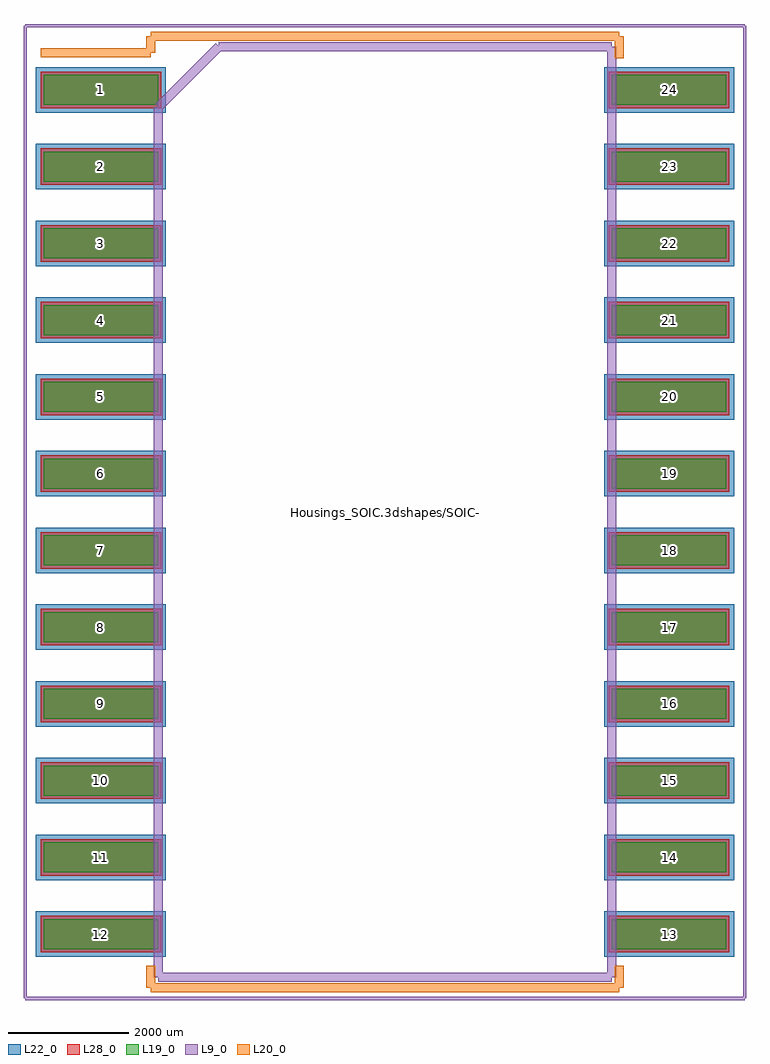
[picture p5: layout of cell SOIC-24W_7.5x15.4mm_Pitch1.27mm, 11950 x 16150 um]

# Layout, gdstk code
import gdstk
lib = gdstk.Library(unit=1e-6, precision=1e-09)
def R(c, l, rs):  # rectangles x0, y0, x1, y1
    for r in rs: c.add(gdstk.rectangle(r[:2], r[2:], *l))
def A(c, l, x, y, w, h, nx, ny, dx, dy):  # array of equal rectangles
    R(c, l, [(x+i*dx, y+j*dy, x+i*dx+w, y+j*dy+h) for i in range(nx) for j in range(ny)])
L9_0 = (9, 0)
L19_0 = (19, 0)
L20_0 = (20, 0)
L22_0 = (22, 0)
L28_0 = (28, 0)

soic_24w_7_5x15_4mm_pitc = lib.new_cell('SOIC-24W_7.5x15.4mm_Pitch1.27mm')
A(soic_24w_7_5x15_4mm_pitc, L19_0, -5650, -7235, 1900, 500, 1, 12, 0, 1270)
A(soic_24w_7_5x15_4mm_pitc, L19_0, 3750, -7235, 1900, 500, 1, 12, 0, 1270)
A(soic_24w_7_5x15_4mm_pitc, L22_0, -5775, -7360, 2150, 750, 1, 12, 0, 1270)
A(soic_24w_7_5x15_4mm_pitc, L22_0, 3625, -7360, 2150, 750, 1, 12, 0, 1270)
A(soic_24w_7_5x15_4mm_pitc, L28_0, -5700, -7285, 2000, 600, 1, 12, 0, 1270)
A(soic_24w_7_5x15_4mm_pitc, L28_0, 3700, -7285, 2000, 600, 1, 12, 0, 1270)
soic_24w_7_5x15_4mm_pitc.add(gdstk.FlexPath([(-3875,7600),(-5700,7600)], 149.998, ends="flush", simple_path=True, layer=20, datatype=0))  # L20_0
soic_24w_7_5x15_4mm_pitc.add(gdstk.FlexPath([(-3875,-7875),(3875,-7875)], 149.998, ends="flush", simple_path=True, layer=20, datatype=0))  # L20_0
soic_24w_7_5x15_4mm_pitc.add(gdstk.FlexPath([(-3875,7875),(3875,7875)], 149.998, ends="flush", simple_path=True, layer=20, datatype=0))  # L20_0
soic_24w_7_5x15_4mm_pitc.add(gdstk.FlexPath([(-3875,-7875),(-3875,-7510)], 149.998, ends="flush", simple_path=True, layer=20, datatype=0))  # L20_0
soic_24w_7_5x15_4mm_pitc.add(gdstk.FlexPath([(3875,-7875),(3875,-7510)], 149.998, ends="flush", simple_path=True, layer=20, datatype=0))  # L20_0
soic_24w_7_5x15_4mm_pitc.add(gdstk.FlexPath([(3875,7875),(3875,7510)], 149.998, ends="flush", simple_path=True, layer=20, datatype=0))  # L20_0
soic_24w_7_5x15_4mm_pitc.add(gdstk.FlexPath([(-3875,7875),(-3875,7600)], 149.998, ends="flush", simple_path=True, layer=20, datatype=0))  # L20_0
soic_24w_7_5x15_4mm_pitc.add(gdstk.FlexPath([(-5950,-8050),(5950,-8050)], 50, ends="flush", simple_path=True, layer=9, datatype=0))  # L9_0
soic_24w_7_5x15_4mm_pitc.add(gdstk.FlexPath([(-5950,8050),(5950,8050)], 50, ends="flush", simple_path=True, layer=9, datatype=0))  # L9_0
soic_24w_7_5x15_4mm_pitc.add(gdstk.FlexPath([(5950,8050),(5950,-8050)], 50, ends="flush", simple_path=True, layer=9, datatype=0))  # L9_0
soic_24w_7_5x15_4mm_pitc.add(gdstk.FlexPath([(-5950,8050),(-5950,-8050)], 50, ends="flush", simple_path=True, layer=9, datatype=0))  # L9_0
soic_24w_7_5x15_4mm_pitc.add(gdstk.FlexPath([(-3750,6700),(-2750,7700)], 149.998, ends="flush", simple_path=True, layer=9, datatype=0))  # L9_0
soic_24w_7_5x15_4mm_pitc.add(gdstk.FlexPath([(-3750,-7700),(-3750,6700)], 149.998, ends="flush", simple_path=True, layer=9, datatype=0))  # L9_0
soic_24w_7_5x15_4mm_pitc.add(gdstk.FlexPath([(3750,-7700),(-3750,-7700)], 149.998, ends="flush", simple_path=True, layer=9, datatype=0))  # L9_0
soic_24w_7_5x15_4mm_pitc.add(gdstk.FlexPath([(3750,7700),(3750,-7700)], 149.998, ends="flush", simple_path=True, layer=9, datatype=0))  # L9_0
soic_24w_7_5x15_4mm_pitc.add(gdstk.FlexPath([(-2750,7700),(3750,7700)], 149.998, ends="flush", simple_path=True, layer=9, datatype=0))  # L9_0
soic_24w_7_5x15_4mm_pitc.add(gdstk.Label('Housings_SOIC.3dshapes/SOIC-24_7.5x15.4mm_Pitch1.27mm.wrl', (0,0), layer=12, texttype=0))
soic_24w_7_5x15_4mm_pitc.add(gdstk.Label('24', (4700,6985), layer=28, texttype=0))
soic_24w_7_5x15_4mm_pitc.add(gdstk.Label('23', (4700,5715), layer=28, texttype=0))
soic_24w_7_5x15_4mm_pitc.add(gdstk.Label('22', (4700,4445), layer=28, texttype=0))
soic_24w_7_5x15_4mm_pitc.add(gdstk.Label('21', (4700,3175), layer=28, texttype=0))
soic_24w_7_5x15_4mm_pitc.add(gdstk.Label('20', (4700,1905), layer=28, texttype=0))
soic_24w_7_5x15_4mm_pitc.add(gdstk.Label('19', (4700,635), layer=28, texttype=0))
soic_24w_7_5x15_4mm_pitc.add(gdstk.Label('18', (4700,-635), layer=28, texttype=0))
soic_24w_7_5x15_4mm_pitc.add(gdstk.Label('17', (4700,-1905), layer=28, texttype=0))
soic_24w_7_5x15_4mm_pitc.add(gdstk.Label('16', (4700,-3175), layer=28, texttype=0))
soic_24w_7_5x15_4mm_pitc.add(gdstk.Label('15', (4700,-4445), layer=28, texttype=0))
soic_24w_7_5x15_4mm_pitc.add(gdstk.Label('14', (4700,-5715), layer=28, texttype=0))
soic_24w_7_5x15_4mm_pitc.add(gdstk.Label('13', (4700,-6985), layer=28, texttype=0))
soic_24w_7_5x15_4mm_pitc.add(gdstk.Label('12', (-4700,-6985), layer=28, texttype=0))
soic_24w_7_5x15_4mm_pitc.add(gdstk.Label('11', (-4700,-5715), layer=28, texttype=0))
soic_24w_7_5x15_4mm_pitc.add(gdstk.Label('10', (-4700,-4445), layer=28, texttype=0))
soic_24w_7_5x15_4mm_pitc.add(gdstk.Label('9', (-4700,-3175), layer=28, texttype=0))
soic_24w_7_5x15_4mm_pitc.add(gdstk.Label('8', (-4700,-1905), layer=28, texttype=0))
soic_24w_7_5x15_4mm_pitc.add(gdstk.Label('7', (-4700,-635), layer=28, texttype=0))
soic_24w_7_5x15_4mm_pitc.add(gdstk.Label('6', (-4700,635), layer=28, texttype=0))
soic_24w_7_5x15_4mm_pitc.add(gdstk.Label('5', (-4700,1905), layer=28, texttype=0))
soic_24w_7_5x15_4mm_pitc.add(gdstk.Label('4', (-4700,3175), layer=28, texttype=0))
soic_24w_7_5x15_4mm_pitc.add(gdstk.Label('3', (-4700,4445), layer=28, texttype=0))
soic_24w_7_5x15_4mm_pitc.add(gdstk.Label('2', (-4700,5715), layer=28, texttype=0))
soic_24w_7_5x15_4mm_pitc.add(gdstk.Label('1', (-4700,6985), layer=28, texttype=0))
soic_24w_7_5x15_4mm_pitc.add(gdstk.Label('type', (0,-8800), layer=9, texttype=0))
soic_24w_7_5x15_4mm_pitc.add(gdstk.Label('devicename', (0,8800), layer=9, texttype=0))

lib.write_gds('SOIC-24W_7.5x15.4mm_Pitch1.27mm.gds')
